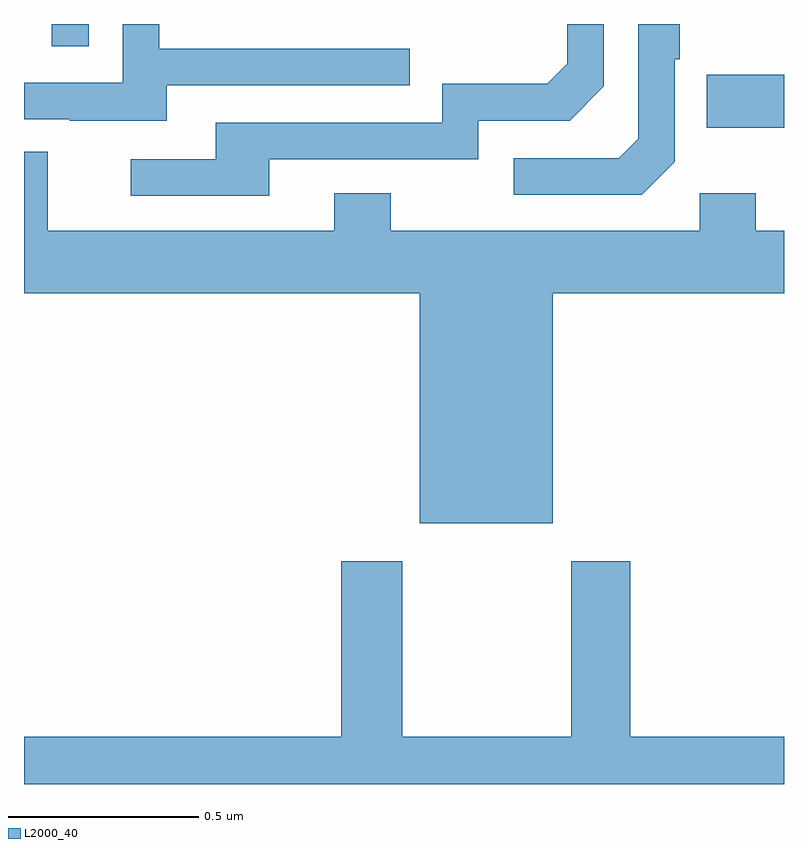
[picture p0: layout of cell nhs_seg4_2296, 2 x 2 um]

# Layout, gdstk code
import gdstk
lib = gdstk.Library(unit=1e-6, precision=1e-09)
def R(c, l, rs):  # rectangles x0, y0, x1, y1
    for r in rs: c.add(gdstk.rectangle(r[:2], r[2:], *l))
def P(c, l, *ps):  # polygons
    for p in ps: c.add(gdstk.Polygon(p, *l))
L2000_40 = (2000, 40)

nhs_seg4_2296 = lib.new_cell('nhs_seg4_2296')
R(nhs_seg4_2296, L2000_40, [(140.797,758.627,141,758.767), (139.073,758.841,139.17,758.9)])
P(nhs_seg4_2296, L2000_40, [(140.712,758.538),(140.712,758.807),(140.725,758.807),(140.725,758.9),(140.616,758.9),(140.616,758.598),(140.565,758.547),(140.289,758.547),(140.289,758.451),(140.625,758.451)],
  [(139.375,758.739),(140.015,758.739),(140.015,758.835),(139.356,758.835),(139.356,758.9),(139.26,758.9),(139.26,758.745),(139,758.745),(139,758.649),(139.121,758.649),(139.121,758.645),(139.375,758.645)],
  [(139.645,758.544),(140.196,758.544),(140.196,758.646),(140.436,758.646),(140.526,758.736),(140.526,758.9),(140.43,758.9),(140.43,758.796),(140.377,758.743),(140.1,758.743),(140.1,758.64),(139.505,758.64),(139.505,758.544),(139.281,758.544),(139.281,758.448),(139.645,758.448)],
  [(140.392,758.192),(141,758.192),(141,758.356),(140.925,758.356),(140.925,758.455),(140.778,758.455),(140.778,758.356),(139.965,758.356),(139.965,758.455),(139.817,758.455),(139.817,758.356),(139.063,758.356),(139.063,758.564),(139,758.564),(139,758.192),(140.042,758.192),(140.042,757.586),(140.392,757.586)],
  [(141,757.024),(140.595,757.024),(140.595,757.486),(140.44,757.486),(140.44,757.024),(139.995,757.024),(139.995,757.486),(139.835,757.486),(139.835,757.024),(139,757.024),(139,756.9),(141,756.9)])

lib.write_gds('nhs_seg4_2296.gds')
